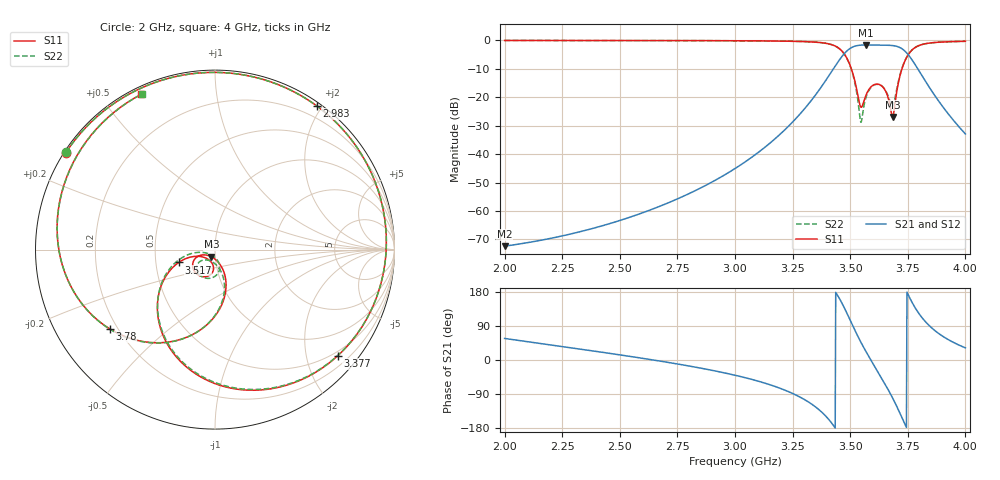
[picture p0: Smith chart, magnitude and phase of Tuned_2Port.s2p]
! Touchstone file exported from HFSS 2018.2.0
!  File:  U:/Fall 2023/Microwave Engineering/Project/redo/Tuning_Circuit.aedt
!  Generated:  10:28:54 PM  Dec 10, 2023
!  Design:  HFSSDesign1
!  Project:  Tuning_Circuit
!  Setup:  Setup1
!  Solution:  Sweep
! Variables:
!  AirboxHeight = 20mm
!  AirboxWidth = 45mm
!  Beta1 = 0.405
!  Beta2 = 0.405
!  F1X = 6.177400342775mm
!  F1Y = 0mm
!  F2X = 13.822599657225mm
!  F2Y = 36.25296916076mm
!  FeedLen = 8.74703083924mm
!  FeedOffset = 0.341mm
!  Len = 24.95604769mm
!  R1Beta1 = 0.3999375
!  Resonator1H = 11.88719931445mm
!  Resonator1W = 6.28892401788mm
!  Resonator1X = 4.056400342775mm
!  Resonator1Y = 8.74703083924mm
!  Resonator2W = 6.28892401788mm
!  Resonator2X = 5.836400342775mm
!  Resonator2Y = 15.70798035712mm
!  Resonator3W = 6.28892401788mm
!  Resonator3X = 4.056400342775mm
!  Resonator3Y = 23.003095625mm
!  Resonator4W = 6.28892401788mm
!  Resonator4X = 5.836400342775mm
!  Resonator4Y = 29.96404514288mm
!  ResonatorsW = 27.50593832152mm
!  Spacing1 = 0.6720255mm
!  Spacing2 = 1.00619125mm
!  Spacing3 = 0.6720255mm
!  Thickness = 31mil
!  W = 1.78mm
!  W50 = 1.78mm
!  WeakGap = 0mm
!  a = 0.252
# GHZ S MA R 50.000000
! Modal data exported
! Port[1] = 1:1
! Port[2] = 2:1
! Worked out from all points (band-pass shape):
!   900 points, 2 GHz to 4 GHz, reference 50 ohm
!   highest |S21| = -1.67 dB at 3.568 GHz (marker M1); lowest = -72.4 dB at 2 GHz (marker M2)
!   |S21| within 3 dB of the highest: 3.475 GHz to 3.748 GHz (272.7 MHz wide, 7.55 % of centre)
!   lowest |S11| = -27.0 dB at 3.684 GHz (marker M3), VSWR 1.09, Z = 47.8 - j3.81 ohm
!   |S11| at or under -10 dB: 3.505 GHz to 3.725 GHz (220 MHz wide, 6.09 % of centre)
!   |S22| runs from -28.8 to -0.1 dB; largest |S21 - S12| = 1.4e-14
!   S11 on the Smith chart (normalised r, x): 2 GHz: 0.00, +0.30; 2.983 GHz: 0.05, +1.93; 3.377 GHz: 0.40, -2.62; 3.517 GHz: 0.66, -0.10; 3.78 GHz: 0.17, -0.32; 4 GHz: 0.03, +0.63
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2  0.9909 147.1  0.0002406 56.9  0.0002406 56.9  0.9909 146.8
! Gamma ! 0.176890230471755 69.4691023004477 0.161629721864959 69.2770958850645
! Port Impedance50 0 50 0
2.333704  0.9898 119.1  0.0004379 28.3  0.0004379 28.3  0.9897 118.7
2.667408  0.9874 89.4  0.001182 -2.1  0.001182 -2.1  0.9873 89.0
2.983315  0.9809 54.8  0.005046 -37.9  0.005046 -37.9  0.9811 54.6
3.001112  0.9802 52.4  0.005598 -40.3  0.005598 -40.3  0.9804 52.2
3.185762  0.9676 21.6  0.02048 -72.4  0.02048 -72.4  0.9681 21.8
3.334816  0.9331 -21.3  0.09131 -117.3  0.09131 -117.3  0.9338 -20.5
3.377086  0.904 -41.0  0.1562 -137.9  0.1562 -137.9  0.9045 -40.0
3.430478  0.8054 -76.5  0.3299 -175.6  0.3299 -175.6  0.8048 -75.5
3.468298  0.6177 -112.5  0.544 145.2  0.544 145.2  0.6148 -112.0
3.517241  0.2143 -160.5  0.7795 82.4  0.7795 82.4  0.2026 -164.9
3.546162  0.06684 -129.8  0.8203 47.2  0.8203 47.2  0.03613 -122.8
3.568409  0.1076 -94.4  0.8254 22.4  0.8254 22.4  0.09839 -74.7
3.615128  0.1697 -123.9  0.8211 -26.1  0.8211 -26.1  0.1679 -110.7
3.668521  0.08554 -158.3  0.8148 -82.3  0.8148 -82.3  0.09441 -140.2
3.684093  0.04473 -117.2  0.8059 -100.2  0.8059 -100.2  0.06851 -108.4
3.728587  0.3508 -87.7  0.6907 -157.4  0.6907 -157.4  0.3569 -88.9
3.755284  0.5836 -117.7  0.5353 167.7  0.5353 167.7  0.5859 -117.8
3.779755  0.7346 -143.1  0.3851 140.0  0.3851 140.0  0.7352 -143.0
3.848721  0.8971 167.7  0.138 87.5  0.138 87.5  0.8961 167.8
3.917686  0.9383 138.7  0.05587 56.6  0.05587 56.6  0.9375 138.5
4  0.9579 115.4  0.02253 32.0  0.02253 32.0  0.9574 115.1
